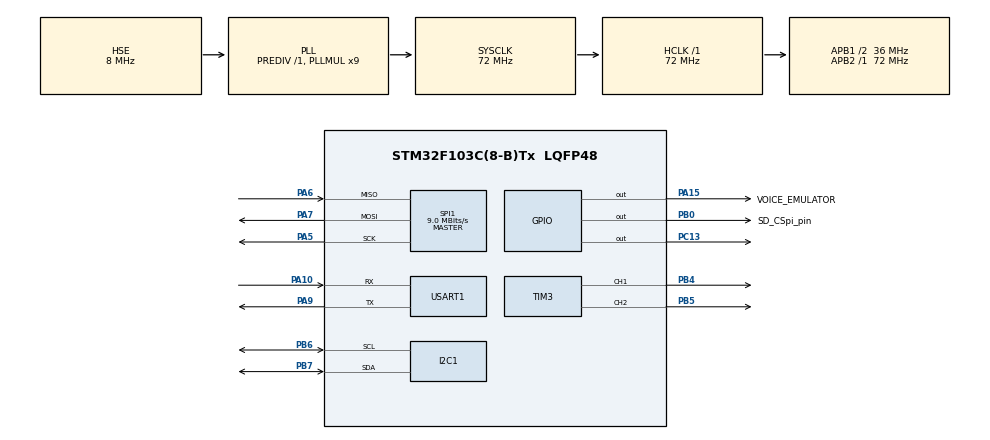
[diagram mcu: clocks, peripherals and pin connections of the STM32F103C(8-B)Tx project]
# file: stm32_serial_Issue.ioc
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Dma.Request0=USART1_TX
Dma.USART1_TX.0.Direction=DMA_MEMORY_TO_PERIPH
Dma.USART1_TX.0.Instance=DMA1_Channel4
Dma.USART1_TX.0.MemDataAlignment=DMA_MDATAALIGN_BYTE
Dma.USART1_TX.0.MemInc=DMA_MINC_ENABLE
Dma.USART1_TX.0.Mode=DMA_NORMAL
Dma.USART1_TX.0.PeriphDataAlignment=DMA_PDATAALIGN_BYTE
Dma.USART1_TX.0.PeriphInc=DMA_PINC_DISABLE
Dma.USART1_TX.0.Priority=DMA_PRIORITY_LOW
FATFS._MAX_SS=4096
FATFS._MIN_SS=512
FATFS._USE_LFN=2
FREERTOS.Mutexes01=uart_newText,Dynamic,NULL,Available
FREERTOS.Tasks01=defaultTask,0,128,StartDefaultTask,Default,NULL,Dynamic,NULL,NULL;myTask_1,0,128,StartTask_1,Default,NULL,Dynamic,NULL,NULL;myTask_2,0,128,StartTask_2,Default,NULL,Dynamic,NULL,NULL
Mcu.Family=STM32F1
Mcu.Name=STM32F103C(8-B)Tx
Mcu.Package=LQFP48
NVIC.DMA1_Channel4_IRQn=true\:5\:0\:false\:false\:true\:true\:false\:true\:true
NVIC.PriorityGroup=NVIC_PRIORITYGROUP_4
NVIC.TIM2_IRQn=true\:15\:0\:false\:false\:true\:false\:false\:true\:true
NVIC.TimeBase=TIM2_IRQn
NVIC.TimeBaseIP=TIM2
NVIC.USART1_IRQn=true\:5\:0\:false\:false\:true\:true\:true\:true\:true
PA10.Mode=Asynchronous
PA10.Signal=USART1_RX
PA13.Mode=Serial_Wire
PA13.Signal=SYS_JTMS-SWDIO
PA14.Mode=Serial_Wire
PA14.Signal=SYS_JTCK-SWCLK
PA15.GPIO_Label=VOICE_EMULATOR
PA15.Signal=GPIO_Output
PA5.Mode=Full_Duplex_Master
PA5.Signal=SPI1_SCK
PA6.Mode=Full_Duplex_Master
PA6.Signal=SPI1_MISO
PA7.Mode=Full_Duplex_Master
PA7.Signal=SPI1_MOSI
PA9.Mode=Asynchronous
PA9.Signal=USART1_TX
PB0.GPIO_Label=SD_CSpi_pin
PB0.Signal=GPIO_Output
PB4.Signal=S_TIM3_CH1
PB5.Signal=S_TIM3_CH2
PB6.Mode=I2C
PB6.Signal=I2C1_SCL
PB7.Mode=I2C
PB7.Signal=I2C1_SDA
PC13-TAMPER-RTC.Signal=GPIO_Output
PD0-OSC_IN.Mode=HSE-External-Oscillator
PD0-OSC_IN.Signal=RCC_OSC_IN
PD1-OSC_OUT.Mode=HSE-External-Oscillator
PD1-OSC_OUT.Signal=RCC_OSC_OUT
ProjectManager.HeapSize=0x200
ProjectManager.StackSize=0x400
ProjectManager.TargetToolchain=STM32CubeIDE
RCC.AHBFreq_Value=72000000
RCC.APB1CLKDivider=RCC_HCLK_DIV2
RCC.APB1Freq_Value=36000000
RCC.APB1TimFreq_Value=72000000
RCC.APB2Freq_Value=72000000
RCC.APB2TimFreq_Value=72000000
RCC.HCLKFreq_Value=72000000
RCC.PLLMUL=RCC_PLL_MUL9
RCC.PLLSourceVirtual=RCC_PLLSOURCE_HSE
RCC.SYSCLKFreq_VALUE=72000000
RCC.SYSCLKSource=RCC_SYSCLKSOURCE_PLLCLK
RCC.USBFreq_Value=72000000
SH.S_TIM3_CH1.0=TIM3_CH1,PWM Generation1 CH1
SH.S_TIM3_CH2.0=TIM3_CH2,PWM Generation2 CH2
SPI1.BaudRatePrescaler=SPI_BAUDRATEPRESCALER_8
SPI1.CalculateBaudRate=9.0 MBits/s
SPI1.Direction=SPI_DIRECTION_2LINES
SPI1.Mode=SPI_MODE_MASTER
SPI1.VirtualType=VM_MASTER
TIM3.Channel-PWM\ Generation1\ CH1=TIM_CHANNEL_1
TIM3.Channel-PWM\ Generation2\ CH2=TIM_CHANNEL_2
USART1.VirtualMode=VM_ASYNC
VP_FATFS_VS_Generic.Mode=User_defined
VP_FREERTOS_VS_CMSIS_V1.Mode=CMSIS_V1
VP_SYS_VS_tim2.Mode=TIM2
board=custom

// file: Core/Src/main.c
/* USER CODE BEGIN Header */
/**
  ******************************************************************************
  * @file           : main.c
  * @brief          : Main program body
  ******************************************************************************
  * @attention
  *
  * Copyright (c) 2024 STMicroelectronics.
  * All rights reserved.
  *
  * This software is licensed under terms that can be found in the LICENSE file
  * in the root directory of this software component.
  * If no LICENSE file comes with this software, it is provided AS-IS.
  *
  ******************************************************************************
  */
/* USER CODE END Header */
#include "main.h"
#include "cmsis_os.h"
#include "fatfs.h"

/* USER CODE BEGIN Includes */
#include <stdio.h>
#include "ds3231.h"
#include "fatfs_sd.h"
#include"string.h"

//#include "i2c_addrScaner.h"

//#define I2C_SCANER

//#define TERMINAL_CONNECT

#ifdef I2C_SCANER
#define I2C_REQUEST_WRITE 0x00 //I2C scanner
#endif

#ifndef USE_FULL_LL_DRIVER
#define USE_FULL_LL_DRIVER
#endif

//#define SET_TIME_DATE

//#include "INA226.h"
#include "Autofox_INA226_c.h"

/* USER CODE END Includes */

/* USER CODE BEGIN PTD */

uint8_t dataCl[]="\r";
int isSent =1;

UART_HandleTypeDef huart1;
DMA_HandleTypeDef hdma_usart1_rx;
DMA_HandleTypeDef hdma_usart1_tx;

I2C_HandleTypeDef hi2c1;

/*++++++++ I2C scanner values ++++++++++++*/

char CDC_tx_buff[64];
char CDC_rx_buff[8];
uint8_t CDC_rx_flag = 0;
uint32_t I2C_speed[4] = { 100000, 200000, 300000, 400000 };

/*==========================================*/

/*++++++++ DS3231 values ++++++++++++*/
char I2C_tx_buff_Rg[64];
char I2C_tx_buff_St[64];
char I2C_tx_buff_Sec[64];
char DS3231_get_Sec[64];
char DS3231_get_Min[64];
char DS3231_get_Hour[64];
char DS3231_get_Week[64];
char DS3231_get_Date[64];
char DS3231_get_Yar[64];
char data_to_SDCARD[64];
uint8_t seconds;
uint8_t minutes;
uint8_t hours;
uint8_t countAlarm1 = 0;
uint8_t numRoad = 0;
/*==========================================*/

/*++++++ AutoFox_INA226 +++++++++*/
AutoFox_INA226 autoFox_ina226;

const uint8_t aI2C_Address=0x40;
//double aShuntResistor_Ohms=0.1;
//double aMaxCurrent_Amps=3.2767;

uint32_t aShuntResistor_Ohms=0.01;
uint32_t aMaxCurrent_Amps=3.2767;

int32_t voltage_uV;
int32_t carrent_mA;
int32_t power_W;
int32_t shuntVolt_uV;
char get_voltage_uV[64];
char get_carrent_mA[64];
char get_shuntVolt_uV[64];
/*======END  AutoFox_INA226 ==============*/

void HAL_UART_TxCpltCallback(UART_HandleTypeDef *huart){
	isSent =1;
}
uint8_t I2C_Check(uint16_t addr);
uint8_t I2C_Roll_Speed(uint16_t addr);

//+++++++++++
void printr(uint8_t reg) {
	sprintf(I2C_tx_buff_Rg, "Reg 0x%02x ", reg);

	  HAL_UART_Transmit_IT(&huart1, (uint8_t*)I2C_tx_buff_Rg, 64);
	  isSent = 0;
       while(!isSent){
       }

	uint8_t val;
	HAL_I2C_Master_Transmit(_ds3231_ui2c, DS3231_I2C_ADDR << 1, &reg, 1,
			DS3231_TIMEOUT);
	HAL_StatusTypeDef s = HAL_I2C_Master_Receive(_ds3231_ui2c,
			DS3231_I2C_ADDR << 1, &val, 1, DS3231_TIMEOUT);
	for (uint8_t i = 0; i < 8; i++) {
		printf("%d", (val >> (7 - i)) & 1);
	}
	sprintf(I2C_tx_buff_St, "status %d\n\r", s);
	  HAL_UART_Transmit_IT(&huart1, (uint8_t*)I2C_tx_buff_St, 64);
	  isSent = 0;
     while(!isSent){
     }

}

/* USER CODE END PTD */

I2C_HandleTypeDef hi2c1;

SPI_HandleTypeDef hspi1;

UART_HandleTypeDef huart1;
DMA_HandleTypeDef hdma_usart1_tx;

osThreadId defaultTaskHandle;
osThreadId myTask_1Handle;
osThreadId myTask_2Handle;
osMutexId uart_newTextHandle;

void SystemClock_Config(void);
static void MX_GPIO_Init(void);
static void MX_DMA_Init(void);
static void MX_USART1_UART_Init(void);
static void MX_I2C1_Init(void);
static void MX_TIM3_Init(void);
static void MX_SPI1_Init(void);
void StartDefaultTask(void const * argument);
void StartTask_1(void const * argument);
void StartTask_2(void const * argument);

/* USER CODE BEGIN 0 */

/*------------FreeRTOS---------*/
typedef  uint32_t TaskProfiler;

TaskProfiler StartTask_1_Profiler, StartTask_2_Profiler, Default_Tread_Profiler;
/*--------------End FreeRROS-------*/

/*---------- SD-CARD-----------*/
FATFS fs; // file sysytem
FIL fil; // file
FRESULT fresult; // to store the result
char buffer[1024]; //to store data

UINT br,bw; // file read/write count

/* capacity related variables */
FATFS *pfs;
DWORD fre_clust;
uint32_t total, free_space;

/*to send the data to the UART */
void send_uart(char *string){

uint8_t len = strlen(string);
HAL_UART_Transmit(&huart1, (uint8_t*)string, len, 2000);//transmit in block mode
}

/* to find the size of data in the buffer */
int bufsize(char *buf){
int i = 0;
while(*buf++ !='\0')i++;
return i;
}

void bufclear(void){ //clear buffer
for (int i = 0; i < 1024; i++){
	buffer[i] = '\0';
}

}
/*----------End SD CARD--------*/
/* USER CODE END 0 */

int main(void)
{

	__disable_irq();

  /* MCU Configuration--------------------------------------------------------*/

  /* Reset of all peripherals, Initializes the Flash interface and the Systick. */
  HAL_Init();

  /* Configure the system clock */
  SystemClock_Config();

  /* Initialize all configured peripherals */
  MX_GPIO_Init();
  MX_DMA_Init();
  MX_USART1_UART_Init();
  MX_I2C1_Init();
  MX_TIM3_Init();
  MX_SPI1_Init();
  MX_FATFS_Init();
  /* USER CODE BEGIN 2 */

/*++++++++++++ DS3231 I2C communication +++++++++++++++*/

	//DS3231 init function. Pass I2C handle.
	DS3231_Init(&hi2c1);
	//Disable interrupts while we set interrupt configs.
	__disable_irq();

	//Set interrupt mode to square wave mode, enable square wave interrupt at pin 3.
	DS3231_SetInterruptMode(DS3231_SQUARE_WAVE_INTERRUPT);
	//Set interrupting frequency to 1 Hz.
	DS3231_SetRateSelect(DS3231_1HZ);

#ifdef SET_TIME_DATE
	//Set time.
	DS3231_SetFullTime(18, 29, 00);
	//Set date.
	DS3231_SetFullDate(14, 01, 2, 2025);

#endif
	//Print all register values, for demonstration purpose

#ifdef CHECK_STATUS_REG

  	for(uint8_t i = 0x00; i < 0x13; i++)
    		printr(i);
	//Enable interrupts after finishing.
#endif
  __enable_irq();
  /*============ END DS3231 I2C communication=============*/
  /*++++++++++++ DS3231 ALARMs setings +++++++++++++++*/

   DS3231_EnableAlarm2(DS3231_ENABLED);
   DS3231_ClearAlarm2Flag();
   DS3231_SetAlarm2Minute(14);

   /*
   for(uint8_t min=0; min<60;min++){
   DS3231_SetAlarm2Minute(min);
   }
   */

   /*Mount SD Card*/
   fresult = f_mount(&fs, "", 0);
   if(fresult != FR_OK) send_uart("error in mounting SD CARD...\n\r");
    else send_uart("SD CARD mounted successfully..\n\r");

/*------------Card capasity details ---------- */

   /* Check free space*/
   f_getfree("", &fre_clust, &pfs);
   total = (uint32_t)((pfs ->n_fatent - 2) * pfs ->csize * 0.5);
   sprintf(buffer, "SD CARD Total Size: \t%lu\n\r", total);
   send_uart(buffer);
   bufclear();
   free_space = (uint32_t)(fre_clust * pfs -> csize * 0.5);
   sprintf(buffer, "SD CARD Free Space: \t%lu\n\r", free_space);
   send_uart(buffer);

   /*Open file to write/create a file if it doesn`t exist*/
   fresult = f_open(&fil,"data.csv",FA_OPEN_ALWAYS | FA_READ | FA_WRITE);

   /*Writing text*/
   //fresult = f_puts("Tis data is from the First FILE\n\n\r", &fil);

   fresult = f_puts("hours,minutes,seconds,voltage_uV,carrent_A, power_W\r", &fil);

   /*Close file*/
   fresult = f_close(&fil);
   send_uart("data.csv ceated and the data is written \n\r");

   /*open file to read*/

  // fresult = f_open(&fil, "data.csv", FA_READ);

   /*Read string from the file*/
   //f_gets(buffer, fil.fsize, &fil);
   //send_uart(buffer);

   /*Close file*/
   f_close(&fil);
   bufclear();

   /*---------------AutoFox_INA226_Init ---------------*/
  //uint8_t checADDR;
   //status checADDR = AutoFox_INA226_CheckI2cAddress(aI2C_Address);

   AutoFox_INA226_Constructor(&autoFox_ina226);

   AutoFox_INA226_Init(&autoFox_ina226, aI2C_Address, aShuntResistor_Ohms, aMaxCurrent_Amps);

   /*=============END AutoFox_INA226_Init ===============*/

   /* USER CODE END 2 */

  /* Create the mutex(es) */
  /* definition and creation of uart_newText */
  osMutexDef(uart_newText);
  uart_newTextHandle = osMutexCreate(osMutex(uart_newText));

  /* Create the thread(s) */
  /* definition and creation of defaultTask */
  osThreadDef(defaultTask, StartDefaultTask, osPriorityNormal, 0, 128);
  defaultTaskHandle = osThreadCreate(osThread(defaultTask), NULL);

  /* definition and creation of myTask_1 */
  osThreadDef(myTask_1, StartTask_1, osPriorityNormal, 0, 128);
  myTask_1Handle = osThreadCreate(osThread(myTask_1), NULL);

  /* definition and creation of myTask_2 */
  osThreadDef(myTask_2, StartTask_2, osPriorityNormal, 0, 128);
  myTask_2Handle = osThreadCreate(osThread(myTask_2), NULL);

  /* Start scheduler */
  osKernelStart();

  /* We should never get here as control is now taken by the scheduler */

  /* Infinite loop */
  while (1)
  {

  }
}

void SystemClock_Config(void)
{
  RCC_OscInitTypeDef RCC_OscInitStruct = {0};
  RCC_ClkInitTypeDef RCC_ClkInitStruct = {0};

  /** Initializes the RCC Oscillators according to the specified parameters
  * in the RCC_OscInitTypeDef structure.
  */
  RCC_OscInitStruct.OscillatorType = RCC_OSCILLATORTYPE_HSE;
  RCC_OscInitStruct.HSEState = RCC_HSE_ON;
  RCC_OscInitStruct.HSEPredivValue = RCC_HSE_PREDIV_DIV1;
  RCC_OscInitStruct.HSIState = RCC_HSI_ON;
  RCC_OscInitStruct.PLL.PLLState = RCC_PLL_ON;
  RCC_OscInitStruct.PLL.PLLSource = RCC_PLLSOURCE_HSE;
  RCC_OscInitStruct.PLL.PLLMUL = RCC_PLL_MUL9;
  if (HAL_RCC_OscConfig(&RCC_OscInitStruct) != HAL_OK)
  {
    Error_Handler();
  }

  /** Initializes the CPU, AHB and APB buses clocks
  */
  RCC_ClkInitStruct.ClockType = RCC_CLOCKTYPE_HCLK|RCC_CLOCKTYPE_SYSCLK
                              |RCC_CLOCKTYPE_PCLK1|RCC_CLOCKTYPE_PCLK2;
  RCC_ClkInitStruct.SYSCLKSource = RCC_SYSCLKSOURCE_PLLCLK;
  RCC_ClkInitStruct.AHBCLKDivider = RCC_SYSCLK_DIV1;
  RCC_ClkInitStruct.APB1CLKDivider = RCC_HCLK_DIV2;
  RCC_ClkInitStruct.APB2CLKDivider = RCC_HCLK_DIV1;

  if (HAL_RCC_ClockConfig(&RCC_ClkInitStruct, FLASH_LATENCY_2) != HAL_OK)
  {
    Error_Handler();
  }
}

static void MX_I2C1_Init(void)
{

  hi2c1.Instance = I2C1;
  hi2c1.Init.ClockSpeed = 100000;
  hi2c1.Init.DutyCycle = I2C_DUTYCYCLE_2;
  hi2c1.Init.OwnAddress1 = 0;
  hi2c1.Init.AddressingMode = I2C_ADDRESSINGMODE_7BIT;
  hi2c1.Init.DualAddressMode = I2C_DUALADDRESS_DISABLE;
  hi2c1.Init.OwnAddress2 = 0;
  hi2c1.Init.GeneralCallMode = I2C_GENERALCALL_DISABLE;
  hi2c1.Init.NoStretchMode = I2C_NOSTRETCH_DISABLE;
  if (HAL_I2C_Init(&hi2c1) != HAL_OK)
  {
    Error_Handler();
  }

}

static void MX_SPI1_Init(void)
{

  /* SPI1 parameter configuration*/
  hspi1.Instance = SPI1;
  hspi1.Init.Mode = SPI_MODE_MASTER;
  hspi1.Init.Direction = SPI_DIRECTION_2LINES;
  hspi1.Init.DataSize = SPI_DATASIZE_8BIT;
  hspi1.Init.CLKPolarity = SPI_POLARITY_LOW;
  hspi1.Init.CLKPhase = SPI_PHASE_1EDGE;
  hspi1.Init.NSS = SPI_NSS_SOFT;
  hspi1.Init.BaudRatePrescaler = SPI_BAUDRATEPRESCALER_8;
  hspi1.Init.FirstBit = SPI_FIRSTBIT_MSB;
  hspi1.Init.TIMode = SPI_TIMODE_DISABLE;
  hspi1.Init.CRCCalculation = SPI_CRCCALCULATION_DISABLE;
  hspi1.Init.CRCPolynomial = 10;
  if (HAL_SPI_Init(&hspi1) != HAL_OK)
  {
    Error_Handler();
  }

}

static void MX_TIM3_Init(void)
{

  LL_TIM_InitTypeDef TIM_InitStruct = {0};
  LL_TIM_OC_InitTypeDef TIM_OC_InitStruct = {0};

  LL_GPIO_InitTypeDef GPIO_InitStruct = {0};

  /* Peripheral clock enable */
  LL_APB1_GRP1_EnableClock(LL_APB1_GRP1_PERIPH_TIM3);

  TIM_InitStruct.Prescaler = 0;
  TIM_InitStruct.CounterMode = LL_TIM_COUNTERMODE_UP;
  TIM_InitStruct.Autoreload = 65535;
  TIM_InitStruct.ClockDivision = LL_TIM_CLOCKDIVISION_DIV1;
  LL_TIM_Init(TIM3, &TIM_InitStruct);
  LL_TIM_DisableARRPreload(TIM3);
  LL_TIM_OC_EnablePreload(TIM3, LL_TIM_CHANNEL_CH1);
  TIM_OC_InitStruct.OCMode = LL_TIM_OCMODE_PWM1;
  TIM_OC_InitStruct.OCState = LL_TIM_OCSTATE_DISABLE;
  TIM_OC_InitStruct.OCNState = LL_TIM_OCSTATE_DISABLE;
  TIM_OC_InitStruct.CompareValue = 0;
  TIM_OC_InitStruct.OCPolarity = LL_TIM_OCPOLARITY_HIGH;
  LL_TIM_OC_Init(TIM3, LL_TIM_CHANNEL_CH1, &TIM_OC_InitStruct);
  LL_TIM_OC_DisableFast(TIM3, LL_TIM_CHANNEL_CH1);
  LL_TIM_OC_EnablePreload(TIM3, LL_TIM_CHANNEL_CH2);
  LL_TIM_OC_Init(TIM3, LL_TIM_CHANNEL_CH2, &TIM_OC_InitStruct);
  LL_TIM_OC_DisableFast(TIM3, LL_TIM_CHANNEL_CH2);
  LL_TIM_SetTriggerOutput(TIM3, LL_TIM_TRGO_RESET);
  LL_TIM_DisableMasterSlaveMode(TIM3);
  LL_APB2_GRP1_EnableClock(LL_APB2_GRP1_PERIPH_GPIOB);
  /**TIM3 GPIO Configuration
  PB4   ------> TIM3_CH1
  PB5   ------> TIM3_CH2
  */
  GPIO_InitStruct.Pin = LL_GPIO_PIN_4|LL_GPIO_PIN_5;
  GPIO_InitStruct.Mode = LL_GPIO_MODE_ALTERNATE;
  GPIO_InitStruct.Speed = LL_GPIO_SPEED_FREQ_LOW;
  GPIO_InitStruct.OutputType = LL_GPIO_OUTPUT_PUSHPULL;
  LL_GPIO_Init(GPIOB, &GPIO_InitStruct);

  LL_GPIO_AF_RemapPartial_TIM3();

}

static void MX_USART1_UART_Init(void)
{

  huart1.Instance = USART1;
  huart1.Init.BaudRate = 115200;
  huart1.Init.WordLength = UART_WORDLENGTH_8B;
  huart1.Init.StopBits = UART_STOPBITS_1;
  huart1.Init.Parity = UART_PARITY_NONE;
  huart1.Init.Mode = UART_MODE_TX_RX;
  huart1.Init.HwFlowCtl = UART_HWCONTROL_NONE;
  huart1.Init.OverSampling = UART_OVERSAMPLING_16;
  if (HAL_UART_Init(&huart1) != HAL_OK)
  {
    Error_Handler();
  }

}

static void MX_DMA_Init(void)
{

  /* DMA controller clock enable */
  __HAL_RCC_DMA1_CLK_ENABLE();

  /* DMA interrupt init */
  /* DMA1_Channel4_IRQn interrupt configuration */
  HAL_NVIC_SetPriority(DMA1_Channel4_IRQn, 5, 0);
  HAL_NVIC_EnableIRQ(DMA1_Channel4_IRQn);

}

static void MX_GPIO_Init(void)
{
  GPIO_InitTypeDef GPIO_InitStruct = {0};

  /* GPIO Ports Clock Enable */
  __HAL_RCC_GPIOC_CLK_ENABLE();
  __HAL_RCC_GPIOD_CLK_ENABLE();
  __HAL_RCC_GPIOA_CLK_ENABLE();
  __HAL_RCC_GPIOB_CLK_ENABLE();

  /*Configure GPIO pin Output Level */
  HAL_GPIO_WritePin(GPIOC, GPIO_PIN_13, GPIO_PIN_RESET);

  /*Configure GPIO pin Output Level */
  HAL_GPIO_WritePin(SD_CSpi_pin_GPIO_Port, SD_CSpi_pin_Pin, GPIO_PIN_RESET);

  /*Configure GPIO pin Output Level */
  HAL_GPIO_WritePin(VOICE_EMULATOR_GPIO_Port, VOICE_EMULATOR_Pin, GPIO_PIN_RESET);

  /*Configure GPIO pin : PC13 */
  GPIO_InitStruct.Pin = GPIO_PIN_13;
  GPIO_InitStruct.Mode = GPIO_MODE_OUTPUT_PP;
  GPIO_InitStruct.Pull = GPIO_NOPULL;
  GPIO_InitStruct.Speed = GPIO_SPEED_FREQ_LOW;
  HAL_GPIO_Init(GPIOC, &GPIO_InitStruct);

  /*Configure GPIO pin : SD_CSpi_pin_Pin */
  GPIO_InitStruct.Pin = SD_CSpi_pin_Pin;
  GPIO_InitStruct.Mode = GPIO_MODE_OUTPUT_PP;
  GPIO_InitStruct.Pull = GPIO_NOPULL;
  GPIO_InitStruct.Speed = GPIO_SPEED_FREQ_LOW;
  HAL_GPIO_Init(SD_CSpi_pin_GPIO_Port, &GPIO_InitStruct);

  /*Configure GPIO pin : VOICE_EMULATOR_Pin */
  GPIO_InitStruct.Pin = VOICE_EMULATOR_Pin;
  GPIO_InitStruct.Mode = GPIO_MODE_OUTPUT_PP;
  GPIO_InitStruct.Pull = GPIO_NOPULL;
  GPIO_InitStruct.Speed = GPIO_SPEED_FREQ_LOW;
  HAL_GPIO_Init(VOICE_EMULATOR_GPIO_Port, &GPIO_InitStruct);

}

void StartDefaultTask(void const * argument)
{
  /* USER CODE BEGIN 5 */
  /* Infinite loop */
  for(;;)
  {

seconds = DS3231_GetSecond();

minutes = DS3231_GetMinute();

hours = DS3231_GetHour();

numRoad++;
//voltage_uV = 12.113;
carrent_mA = 0;
power_W = voltage_uV * carrent_mA;

#ifdef TERMINAL_CONNECT
sprintf(DS3231_get_Hour, "time is: %d:%d:%d\n\r", hours, minutes, seconds);
HAL_UART_Transmit_IT(&huart1, (uint8_t*)DS3231_get_Hour, 64);
isSent = 0;
while (!isSent){};
HAL_UART_Transmit_IT(&huart1, (uint8_t*)"\r", 1);
while (!isSent){};
#endif

voltage_uV = AutoFox_INA226_GetBusVoltage_uV(&autoFox_ina226);
sprintf(get_voltage_uV, "Voltage uV: %ld\n\r", voltage_uV);

#ifdef TERMINAL_CONNECT
sprintf(get_voltage_uV, "Voltage uV: %ld\n\r", voltage_uV);
HAL_UART_Transmit_IT(&huart1, (uint8_t*)get_voltage_uV, 64);
isSent = 0;
while (!isSent){};
HAL_UART_Transmit_IT(&huart1, (uint8_t*)"\r", 1);
while (!isSent){};
#endif

carrent_mA = AutoFox_INA226_GetCurrent_uA(&autoFox_ina226);

#ifdef TERMINAL_CONNECT
sprintf(get_carrent_mA, "carrent mA: %ld\n\r", carrent_mA);
HAL_UART_Transmit_IT(&huart1, (uint8_t*)get_carrent_mA, 64);
isSent = 0;
while (!isSent){};
HAL_UART_Transmit_IT(&huart1, (uint8_t*)"\r", 1);
while (!isSent){};
#endif

shuntVolt_uV = AutoFox_INA226_GetShuntVoltage_uV(&autoFox_ina226);

#ifdef TERMINAL_CONNECT
sprintf(get_shuntVolt_uV, "ShuntVoltage_uV: %ld\n\r", shuntVolt_uV);
HAL_UART_Transmit_IT(&huart1, (uint8_t*)get_shuntVolt_uV, 64);
isSent = 0;
while (!isSent){};
HAL_UART_Transmit_IT(&huart1, (uint8_t*)"\r", 1);
while (!isSent){};
#endif

/*-----working with SDCARD----------*/

/*Open file to write/create a file if it doesn`t exist*/
sprintf(data_to_SDCARD, "%d,%d,%d,%ld,%ld,%ld\r", hours, minutes, seconds,voltage_uV,shuntVolt_uV, power_W);

   /*Writing text*/
   fresult = f_open(&fil,"data.csv",FA_OPEN_ALWAYS | FA_WRITE);
   fresult = f_lseek(&fil, fil.fsize);
   fresult = f_puts(data_to_SDCARD, &fil);
   /*Close file*/
   f_close(&fil);
   bufclear();

/*---end working with SDCARD ------*/

   osDelay(5000);
  }
  /* USER CODE END 5 */
}

void StartTask_1(void const * argument)
{
  /* USER CODE BEGIN StartTask_1 */
  /* Infinite loop */
  for(;;)
  {
	StartTask_1_Profiler++;
if (DS3231_IsAlarm2Triggered()){
	   countAlarm1++;
}
    osDelay(500);
  }
  /* USER CODE END StartTask_1 */
}

void StartTask_2(void const * argument)
{
  /* USER CODE BEGIN StartTask_2 */
  /* Infinite loop */
  for(;;)
  {
	StartTask_2_Profiler++;
    //osDelay(1);
  }
  /* USER CODE END StartTask_2 */
}

void HAL_TIM_PeriodElapsedCallback(TIM_HandleTypeDef *htim)
{
  if (htim->Instance == TIM2) {
    HAL_IncTick();
  }
}

void Error_Handler(void)
{
  __disable_irq();
  while (1)
  {
  }
}
